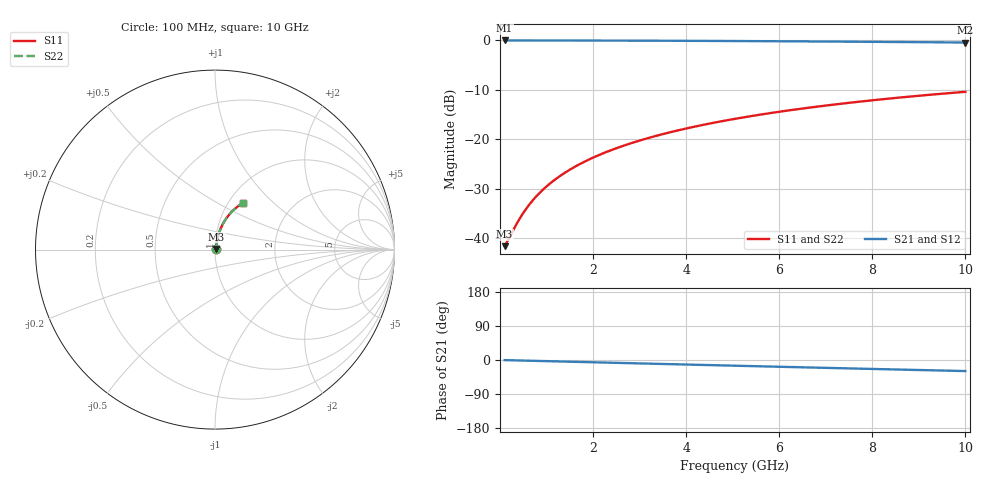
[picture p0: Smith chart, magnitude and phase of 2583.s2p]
# Hz S RI R 50.00
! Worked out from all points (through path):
!   100 points, 100 MHz to 10 GHz, reference 50 ohm
!   highest |S21| = -0.07 dB at 100 MHz (marker M1); lowest = -0.5 dB at 10 GHz (marker M2)
!   group delay of S21, straight-line fit = 8.13 ps
!   lowest |S11| = -41.6 dB at 100 MHz (marker M3), VSWR 1.02, Z = 50.8 + j0.324 ohm
!   |S11| at or under -10 dB: start of sweep to end of sweep
!   |S22| runs from -41.6 to -10.4 dB; largest |S21 - S12| = 0
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1e8  0.00764 0.00319  0.9924 -0.0052  0.9924 -0.0052  0.00764 0.00319
2e8  0.00774 0.00638  0.9922 -0.0104  0.9922 -0.0104  0.00774 0.00638
3e8  0.00786 0.00957  0.9921 -0.0156  0.9921 -0.0156  0.00786 0.00957
4e8  0.008 0.0128  0.992 -0.0208  0.992 -0.0208  0.008 0.0128
5e8  0.00818 0.0159  0.9918 -0.026  0.9918 -0.026  0.00818 0.0159
6e8  0.00839 0.0191  0.9915 -0.0312  0.9915 -0.0312  0.00839 0.0191
7e8  0.00862 0.0223  0.9913 -0.0364  0.9913 -0.0364  0.00862 0.0223
8e8  0.00889 0.0255  0.991 -0.0416  0.991 -0.0416  0.00889 0.0255
1e9  0.00953 0.0318  0.9903 -0.052  0.9903 -0.052  0.00953 0.0318
1.2e9  0.0103 0.0382  0.9894 -0.0623  0.9894 -0.0623  0.0103 0.0382
1.5e9  0.0117 0.0476  0.9878 -0.0778  0.9878 -0.0778  0.0117 0.0476
1.8e9  0.0134 0.057  0.986 -0.0932  0.986 -0.0932  0.0134 0.057
2.1e9  0.0153 0.0663  0.9837 -0.1086  0.9837 -0.1086  0.0153 0.0663
2.5e9  0.0184 0.0787  0.9803 -0.129  0.9803 -0.129  0.0184 0.0787
2.9e9  0.022 0.0908  0.9763 -0.1492  0.9763 -0.1492  0.022 0.0908
3.4e9  0.0271 0.1057  0.9705 -0.1743  0.9705 -0.1743  0.0271 0.1057
4.2e9  0.0369 0.1289  0.9594 -0.2136  0.9594 -0.2136  0.0369 0.1289
5.1e9  0.0501 0.1538  0.9445 -0.2567  0.9445 -0.2567  0.0501 0.1538
5.9e9  0.0636 0.1746  0.9292 -0.2937  0.9292 -0.2937  0.0636 0.1746
6.7e9  0.0786 0.1941  0.9121 -0.3295  0.9121 -0.3295  0.0786 0.1941
8.4e9  0.1148 0.2306  0.8704 -0.4007  0.8704 -0.4007  0.1148 0.2306
1e10  0.1532 0.2585  0.8257 -0.4613  0.8257 -0.4613  0.1532 0.2585
